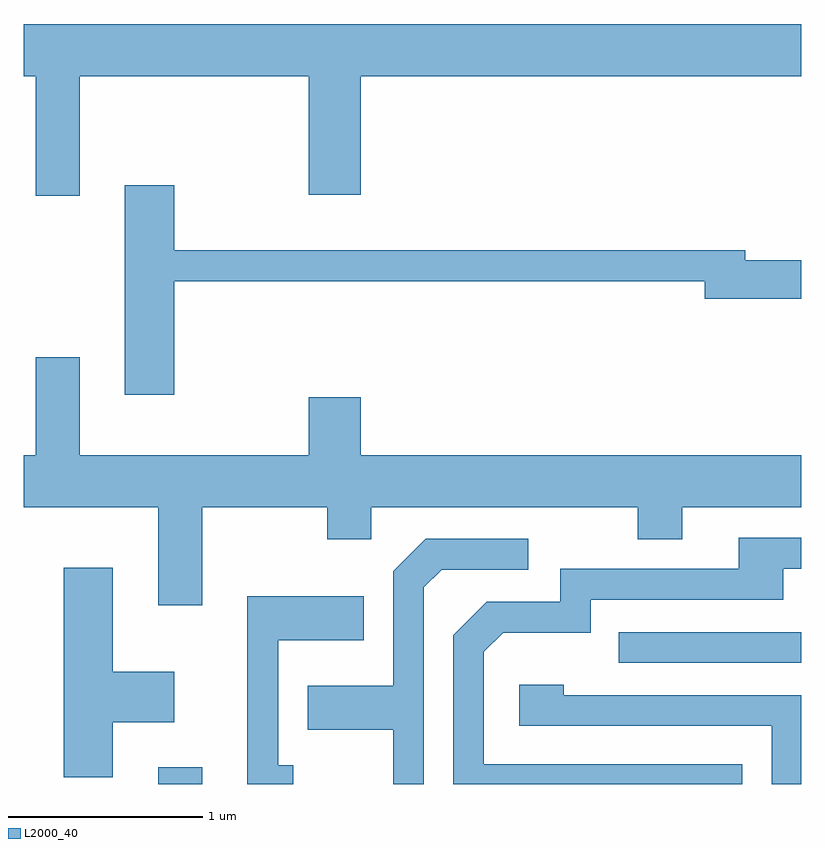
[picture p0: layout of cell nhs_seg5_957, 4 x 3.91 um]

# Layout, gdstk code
import gdstk
lib = gdstk.Library(unit=1e-6, precision=1e-09)
def R(c, l, rs):  # rectangles x0, y0, x1, y1
    for r in rs: c.add(gdstk.rectangle(r[:2], r[2:], *l))
def P(c, l, *ps):  # polygons
    for p in ps: c.add(gdstk.Polygon(p, *l))
L2000_40 = (2000, 40)

nhs_seg5_957 = lib.new_cell('nhs_seg5_957')
R(nhs_seg5_957, L2000_40, [(214.301,1422.072,214.529,1422.159), (216.673,1422.696,217.611,1422.854)])
P(nhs_seg5_957, L2000_40, [(213.899,1425.716),(215.076,1425.716),(215.076,1425.106),(215.344,1425.106),(215.344,1425.716),(217.611,1425.716),(217.611,1425.984),(213.611,1425.984),(213.611,1425.716),(213.671,1425.716),(213.671,1425.101),(213.899,1425.101)],
  [(214.384,1424.661),(217.116,1424.661),(217.116,1424.571),(217.611,1424.571),(217.611,1424.769),(217.324,1424.769),(217.324,1424.819),(214.384,1424.819),(214.384,1425.154),(214.131,1425.154),(214.131,1424.076),(214.384,1424.076)],
  [(214.529,1423.496),(215.171,1423.496),(215.171,1423.331),(215.399,1423.331),(215.399,1423.496),(216.771,1423.496),(216.771,1423.331),(216.999,1423.331),(216.999,1423.496),(217.611,1423.496),(217.611,1423.764),(215.344,1423.764),(215.344,1424.064),(215.076,1424.064),(215.076,1423.764),(213.899,1423.764),(213.899,1424.269),(213.671,1424.269),(213.671,1423.764),(213.611,1423.764),(213.611,1423.496),(214.301,1423.496),(214.301,1422.991),(214.529,1422.991)],
  [(217.309,1422.174),(215.979,1422.174),(215.979,1422.754),(216.077,1422.851),(216.529,1422.851),(216.529,1423.021),(217.519,1423.021),(217.519,1423.181),(217.611,1423.181),(217.611,1423.339),(217.291,1423.339),(217.291,1423.179),(216.371,1423.179),(216.371,1423.009),(215.994,1423.009),(215.821,1422.837),(215.821,1422.072),(217.309,1422.072)],
  [(215.669,1423.084),(215.762,1423.176),(216.208,1423.176),(216.208,1423.334),(215.679,1423.334),(215.511,1423.167),(215.511,1422.579),(215.071,1422.579),(215.071,1422.351),(215.511,1422.351),(215.511,1422.072),(215.669,1422.072)],
  [(214.069,1422.391),(214.384,1422.391),(214.384,1422.649),(214.069,1422.649),(214.069,1423.184),(213.816,1423.184),(213.816,1422.106),(214.069,1422.106)],
  [(214.998,1422.169),(214.919,1422.169),(214.919,1422.811),(215.359,1422.811),(215.359,1423.039),(214.761,1423.039),(214.761,1422.072),(214.998,1422.072)],
  [(217.611,1422.529),(216.389,1422.529),(216.389,1422.584),(216.161,1422.584),(216.161,1422.371),(217.461,1422.371),(217.461,1422.072),(217.611,1422.072)])

lib.write_gds('nhs_seg5_957.gds')
